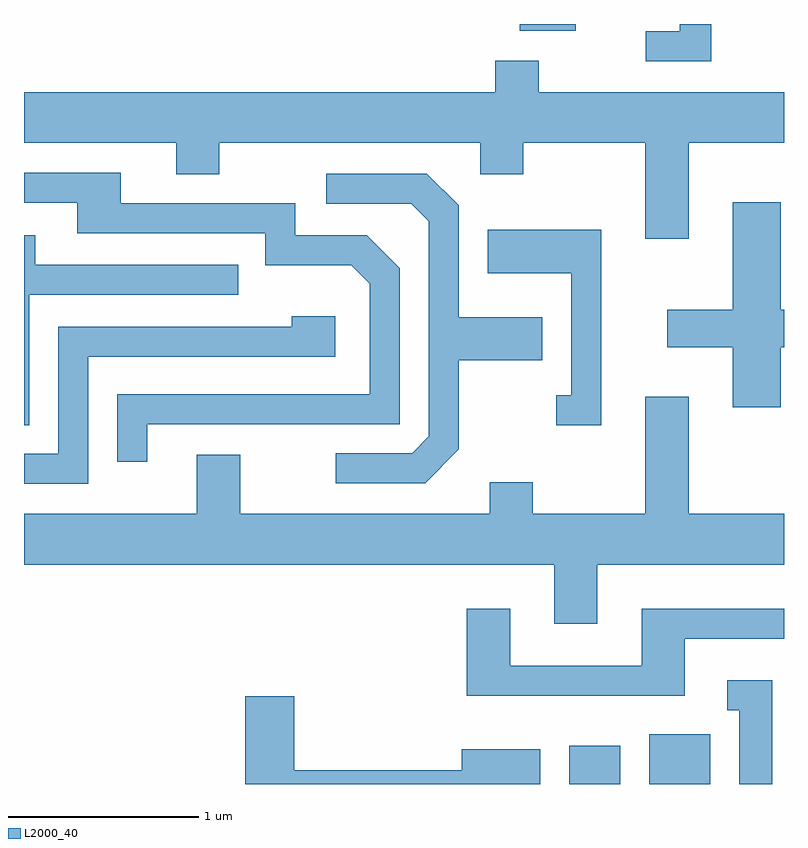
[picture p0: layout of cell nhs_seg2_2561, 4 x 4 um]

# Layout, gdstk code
import gdstk
lib = gdstk.Library(unit=1e-6, precision=1e-09)
def R(c, l, rs):  # rectangles x0, y0, x1, y1
    for r in rs: c.add(gdstk.rectangle(r[:2], r[2:], *l))
def P(c, l, *ps):  # polygons
    for p in ps: c.add(gdstk.Polygon(p, *l))
L2000_40 = (2000, 40)

nhs_seg2_2561 = lib.new_cell('nhs_seg2_2561')
R(nhs_seg2_2561, L2000_40, [(262.481,1073.802,262.749,1074.004), (262.901,1073.802,263.224,1074.064), (262.221,1077.766,262.514,1077.802)])
P(nhs_seg2_2561, L2000_40, [(263.229,1077.802),(263.061,1077.802),(263.061,1077.764),(262.883,1077.764),(262.883,1077.606),(263.229,1077.606)],
  [(263.109,1077.176),(263.611,1077.176),(263.611,1077.444),(262.319,1077.444),(262.319,1077.609),(262.091,1077.609),(262.091,1077.444),(259.611,1077.444),(259.611,1077.176),(260.411,1077.176),(260.411,1077.011),(260.639,1077.011),(260.639,1077.176),(262.011,1077.176),(262.011,1077.011),(262.239,1077.011),(262.239,1077.176),(262.881,1077.176),(262.881,1076.671),(263.109,1076.671)],
  [(260.259,1075.696),(261.589,1075.696),(261.589,1076.517),(261.416,1076.689),(261.039,1076.689),(261.039,1076.859),(260.119,1076.859),(260.119,1077.019),(259.611,1077.019),(259.611,1076.861),(259.891,1076.861),(259.891,1076.701),(260.881,1076.701),(260.881,1076.531),(261.334,1076.531),(261.431,1076.434),(261.431,1075.854),(260.101,1075.854),(260.101,1075.498),(260.259,1075.498)],
  [(261.899,1075.564),(261.899,1076.031),(262.339,1076.031),(262.339,1076.259),(261.899,1076.259),(261.899,1076.847),(261.731,1077.014),(261.203,1077.014),(261.203,1076.856),(261.649,1076.856),(261.741,1076.764),(261.741,1075.632),(261.654,1075.544),(261.253,1075.544),(261.253,1075.386),(261.722,1075.386)],
  [(263.594,1076.101),(263.611,1076.101),(263.611,1076.299),(263.594,1076.299),(263.594,1076.864),(263.341,1076.864),(263.341,1076.299),(262.996,1076.299),(262.996,1076.101),(263.341,1076.101),(263.341,1075.786),(263.594,1075.786)],
  [(262.649,1076.719),(262.051,1076.719),(262.051,1076.491),(262.491,1076.491),(262.491,1075.849),(262.413,1075.849),(262.413,1075.691),(262.649,1075.691)],
  [(259.639,1076.376),(260.738,1076.376),(260.738,1076.534),(259.669,1076.534),(259.669,1076.689),(259.611,1076.689),(259.611,1075.691),(259.639,1075.691)],
  [(259.949,1076.051),(261.249,1076.051),(261.249,1076.264),(261.021,1076.264),(261.021,1076.209),(259.791,1076.209),(259.791,1075.539),(259.611,1075.539),(259.611,1075.381),(259.949,1075.381)],
  [(262.629,1074.956),(263.611,1074.956),(263.611,1075.224),(263.109,1075.224),(263.109,1075.839),(262.881,1075.839),(262.881,1075.224),(262.289,1075.224),(262.289,1075.389),(262.061,1075.389),(262.061,1075.224),(260.749,1075.224),(260.749,1075.534),(260.521,1075.534),(260.521,1075.224),(259.611,1075.224),(259.611,1074.956),(262.401,1074.956),(262.401,1074.646),(262.629,1074.646)],
  [(263.089,1074.566),(263.611,1074.566),(263.611,1074.724),(262.861,1074.724),(262.861,1074.424),(262.169,1074.424),(262.169,1074.724),(261.941,1074.724),(261.941,1074.266),(263.089,1074.266)],
  [(263.549,1074.349),(263.313,1074.349),(263.313,1074.191),(263.376,1074.191),(263.376,1073.802),(263.549,1073.802)],
  [(262.329,1073.984),(261.916,1073.984),(261.916,1073.874),(261.034,1073.874),(261.034,1074.264),(260.776,1074.264),(260.776,1073.802),(262.329,1073.802)])

lib.write_gds('nhs_seg2_2561.gds')
